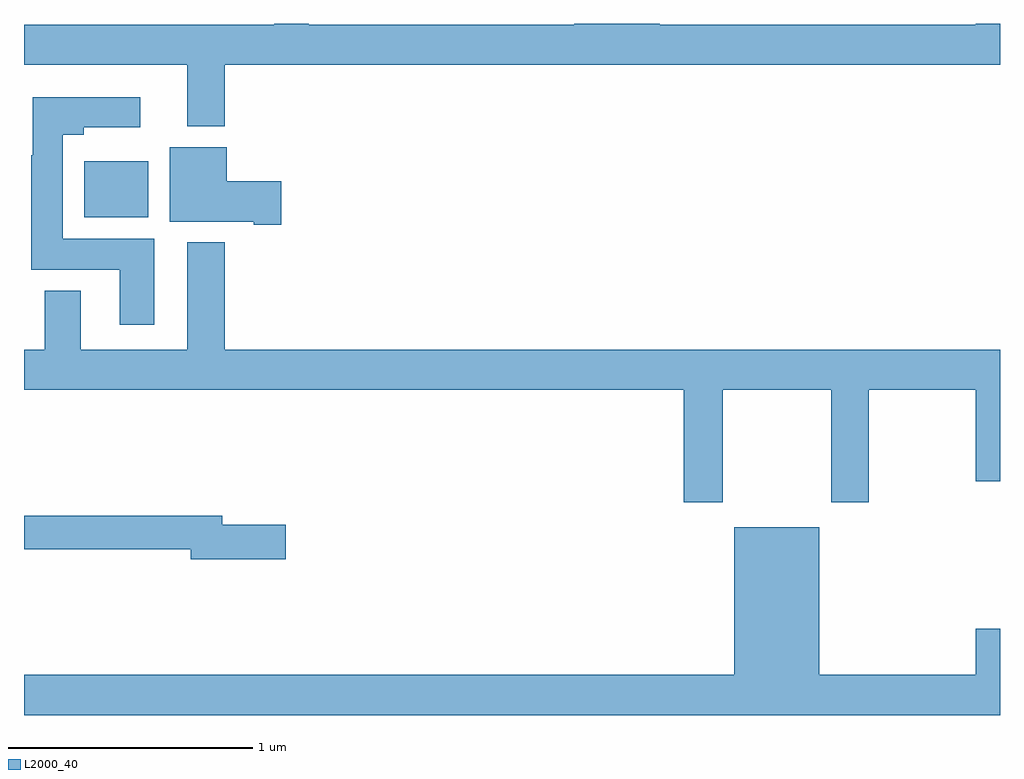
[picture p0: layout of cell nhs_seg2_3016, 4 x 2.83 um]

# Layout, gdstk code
import gdstk
lib = gdstk.Library(unit=1e-6, precision=1e-09)
def R(c, l, rs):  # rectangles x0, y0, x1, y1
    for r in rs: c.add(gdstk.rectangle(r[:2], r[2:], *l))
def P(c, l, *ps):  # polygons
    for p in ps: c.add(gdstk.Polygon(p, *l))
L2000_40 = (2000, 40)

nhs_seg2_3016 = lib.new_cell('nhs_seg2_3016')
R(nhs_seg2_3016, L2000_40, [(269.246,651.008,269.509,651.238)])
P(nhs_seg2_3016, L2000_40, [(273,651.8),(272.9,651.8),(272.9,651.796),(271.606,651.796),(271.606,651.8),(271.256,651.8),(271.256,651.796),(270.166,651.796),(270.166,651.8),(270.026,651.8),(270.026,651.796),(269,651.796),(269,651.632),(269.669,651.632),(269.669,651.38),(269.822,651.38),(269.822,651.632),(273,651.632)],
  [(269.533,650.92),(269.158,650.92),(269.158,651.347),(269.245,651.347),(269.245,651.377),(269.476,651.377),(269.476,651.499),(269.036,651.499),(269.036,651.263),(269.029,651.263),(269.029,650.792),(269.393,650.792),(269.393,650.568),(269.533,650.568)],
  [(270.055,651.156),(269.83,651.156),(269.83,651.295),(269.597,651.295),(269.597,650.99),(269.942,650.99),(269.942,650.978),(270.055,650.978)],
  [(271.863,650.3),(272.308,650.3),(272.308,649.839),(272.463,649.839),(272.463,650.3),(272.9,650.3),(272.9,649.926),(273,649.926),(273,650.464),(269.822,650.464),(269.822,650.905),(269.669,650.905),(269.669,650.464),(269.233,650.464),(269.233,650.707),(269.086,650.707),(269.086,650.464),(269,650.464),(269,650.3),(271.703,650.3),(271.703,649.839),(271.863,649.839)],
  [(270.073,649.748),(269.812,649.748),(269.812,649.784),(269,649.784),(269,649.648),(269.684,649.648),(269.684,649.606),(270.073,649.606)],
  [(273,649.321),(272.9,649.321),(272.9,649.132),(272.26,649.132),(272.26,649.738),(271.91,649.738),(271.91,649.132),(269,649.132),(269,648.968),(273,648.968)])

lib.write_gds('nhs_seg2_3016.gds')
